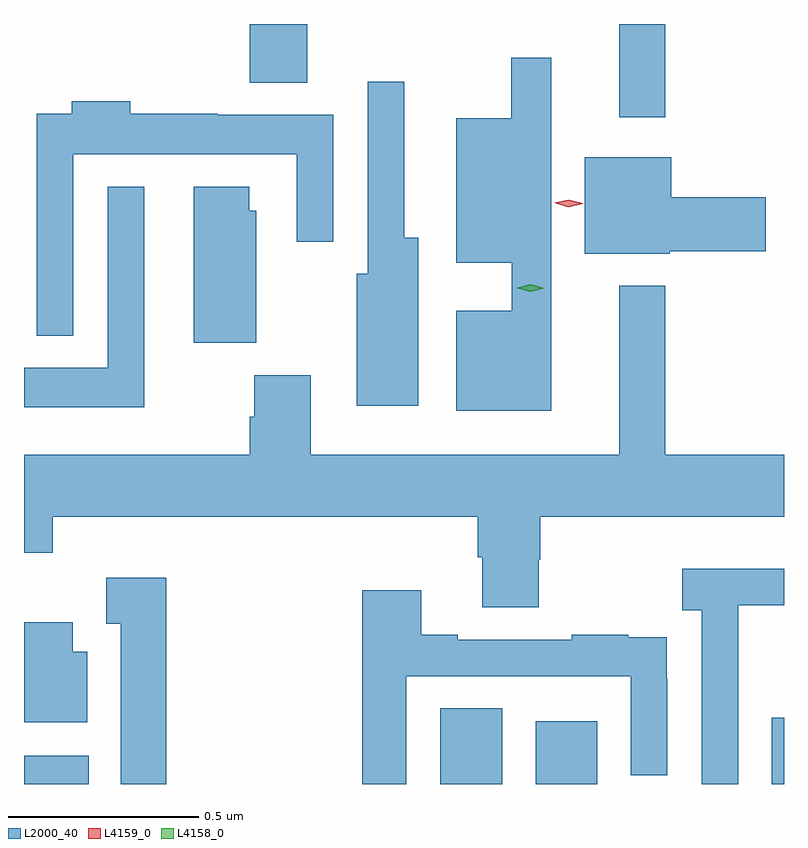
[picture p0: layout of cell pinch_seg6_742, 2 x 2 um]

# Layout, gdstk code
import gdstk
lib = gdstk.Library(unit=1e-6, precision=1e-09)
def R(c, l, rs):  # rectangles x0, y0, x1, y1
    for r in rs: c.add(gdstk.rectangle(r[:2], r[2:], *l))
def P(c, l, *ps):  # polygons
    for p in ps: c.add(gdstk.Polygon(p, *l))
L2000_40 = (2000, 40)
L4158_0 = (4158, 0)
L4159_0 = (4159, 0)

pinch_seg6_742 = lib.new_cell('pinch_seg6_742')
R(pinch_seg6_742, L2000_40, [(629.315,937.309,629.485,937.384), (630.41,937.309,630.574,937.508), (630.662,937.309,630.823,937.474), (631.283,937.309,631.315,937.483), (630.881,939.063,631.003,939.309), (629.909,939.155,630.061,939.309)])
P(pinch_seg6_742, L2000_40, [(630.703,939.22),(630.597,939.22),(630.597,939.061),(630.452,939.061),(630.452,938.681),(630.599,938.681),(630.599,938.554),(630.452,938.554),(630.452,938.291),(630.703,938.291)],
  [(630.352,938.746),(630.316,938.746),(630.316,939.157),(630.219,939.157),(630.219,938.652),(630.191,938.652),(630.191,938.304),(630.352,938.304)],
  [(629.445,938.966),(630.033,938.966),(630.033,938.736),(630.129,938.736),(630.129,939.07),(629.825,939.07),(629.825,939.073),(629.594,939.073),(629.594,939.106),(629.441,939.106),(629.441,939.073),(629.349,939.073),(629.349,938.489),(629.445,938.489)],
  [(631.014,938.711),(631.267,938.711),(631.267,938.853),(631.018,938.853),(631.018,938.959),(630.791,938.959),(630.791,938.705),(631.014,938.705)],
  [(629.926,938.817),(629.908,938.817),(629.908,938.881),(629.762,938.881),(629.762,938.47),(629.926,938.47)],
  [(629.632,938.881),(629.535,938.881),(629.535,938.404),(629.315,938.404),(629.315,938.3),(629.632,938.3)],
  [(630.509,937.906),(630.521,937.906),(630.521,937.774),(630.669,937.774),(630.669,937.899),(630.674,937.899),(630.674,938.012),(631.315,938.012),(631.315,938.176),(631.003,938.176),(631.003,938.62),(630.881,938.62),(630.881,938.176),(630.069,938.176),(630.069,938.385),(629.921,938.385),(629.921,938.276),(629.909,938.276),(629.909,938.176),(629.315,938.176),(629.315,937.917),(629.39,937.917),(629.39,938.012),(630.509,938.012)],
  [(631.194,937.579),(631.195,937.579),(631.195,937.779),(631.315,937.779),(631.315,937.876),(631.047,937.876),(631.047,937.766),(631.098,937.766),(631.098,937.309),(631.194,937.309)],
  [(629.689,937.852),(629.531,937.852),(629.531,937.731),(629.57,937.731),(629.57,937.309),(629.689,937.309)],
  [(630.321,937.593),(630.912,937.593),(630.912,937.332),(631.008,937.332),(631.008,937.586),(631.007,937.586),(631.007,937.695),(630.905,937.695),(630.905,937.702),(630.757,937.702),(630.757,937.689),(630.457,937.689),(630.457,937.702),(630.361,937.702),(630.361,937.819),(630.205,937.819),(630.205,937.309),(630.321,937.309)],
  [(629.482,937.657),(629.443,937.657),(629.443,937.735),(629.315,937.735),(629.315,937.472),(629.482,937.472)])
P(pinch_seg6_742, L4158_0, [(630.649,938.604),(630.613,938.614),(630.613,938.614),(630.613,938.615),(630.649,938.624),(630.684,938.614),(630.684,938.614),(630.684,938.614)])
P(pinch_seg6_742, L4159_0, [(630.747,938.827),(630.71,938.838),(630.71,938.838),(630.71,938.838),(630.748,938.847),(630.785,938.837),(630.785,938.836),(630.785,938.836)])

lib.write_gds('pinch_seg6_742.gds')
